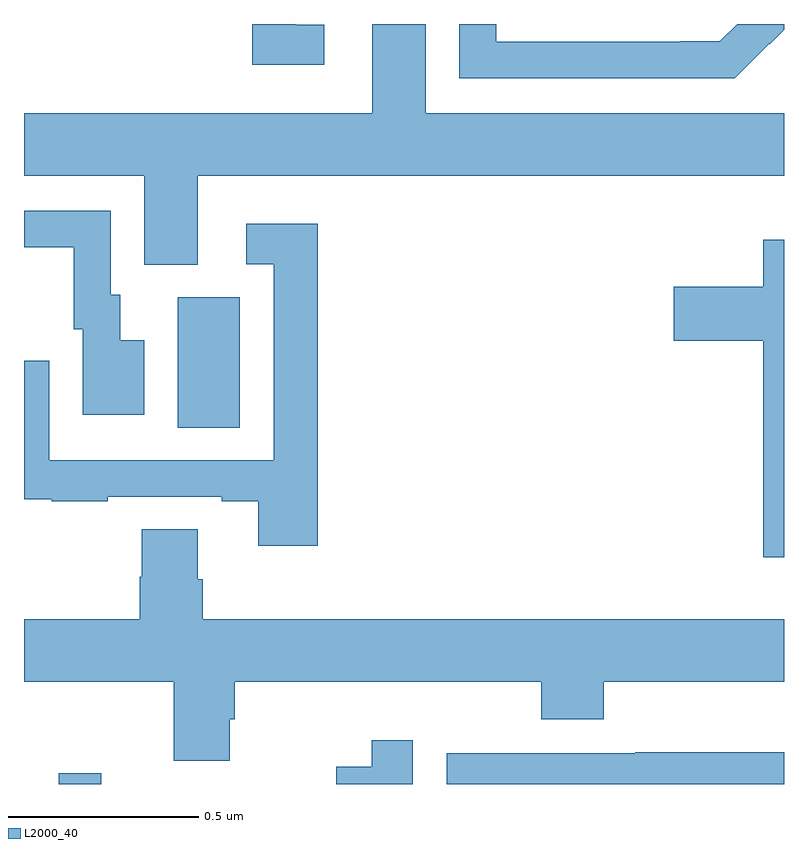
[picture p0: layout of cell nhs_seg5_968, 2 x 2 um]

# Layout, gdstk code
import gdstk
lib = gdstk.Library(unit=1e-6, precision=1e-09)
def R(c, l, rs):  # rectangles x0, y0, x1, y1
    for r in rs: c.add(gdstk.rectangle(r[:2], r[2:], *l))
def P(c, l, *ps):  # polygons
    for p in ps: c.add(gdstk.Polygon(p, *l))
L2000_40 = (2000, 40)

nhs_seg5_968 = lib.new_cell('nhs_seg5_968')
R(nhs_seg5_968, L2000_40, [(123.092,881.799,123.203,881.827), (123.404,882.736,123.568,883.08)])
P(nhs_seg5_968, L2000_40, [(123.79,883.797),(123.717,883.797),(123.717,883.799),(123.601,883.799),(123.601,883.692),(123.79,883.692)],
  [(123.457,883.4),(125,883.4),(125,883.564),(124.057,883.564),(124.057,883.799),(123.917,883.799),(123.917,883.564),(123,883.564),(123,883.4),(123.317,883.4),(123.317,883.165),(123.457,883.165)],
  [(124.961,883.747),(124.962,883.746),(125,883.784),(125,883.799),(124.877,883.799),(124.831,883.753),(124.727,883.753),(124.727,883.752),(124.243,883.752),(124.243,883.799),(124.146,883.799),(124.146,883.656),(124.87,883.656)],
  [(123.316,882.967),(123.253,882.967),(123.253,883.086),(123.228,883.086),(123.228,883.308),(123,883.308),(123,883.212),(123.131,883.212),(123.131,882.996),(123.155,882.996),(123.155,882.771),(123.316,882.771)],
  [(123.773,883.273),(123.585,883.273),(123.585,883.167),(123.657,883.167),(123.657,882.651),(123.066,882.651),(123.066,882.913),(123,882.913),(123,882.549),(123.073,882.549),(123.073,882.543),(123.221,882.543),(123.221,882.555),(123.521,882.555),(123.521,882.543),(123.617,882.543),(123.617,882.426),(123.773,882.426)],
  [(125,883.231),(124.946,883.231),(124.946,883.107),(124.71,883.107),(124.71,882.965),(124.946,882.965),(124.946,882.396),(125,882.396)],
  [(123.541,881.97),(123.554,881.97),(123.554,882.068),(124.361,882.068),(124.361,881.969),(124.526,881.969),(124.526,882.068),(125,882.068),(125,882.232),(123.47,882.232),(123.47,882.338),(123.457,882.338),(123.457,882.47),(123.31,882.47),(123.31,882.345),(123.305,882.345),(123.305,882.232),(123,882.232),(123,882.068),(123.394,882.068),(123.394,881.86),(123.541,881.86)],
  [(124.023,881.914),(123.915,881.914),(123.915,881.844),(123.822,881.844),(123.822,881.799),(124.023,881.799)],
  [(125,881.882),(124.609,881.882),(124.609,881.88),(124.113,881.88),(124.113,881.799),(125,881.799)])

lib.write_gds('nhs_seg5_968.gds')
